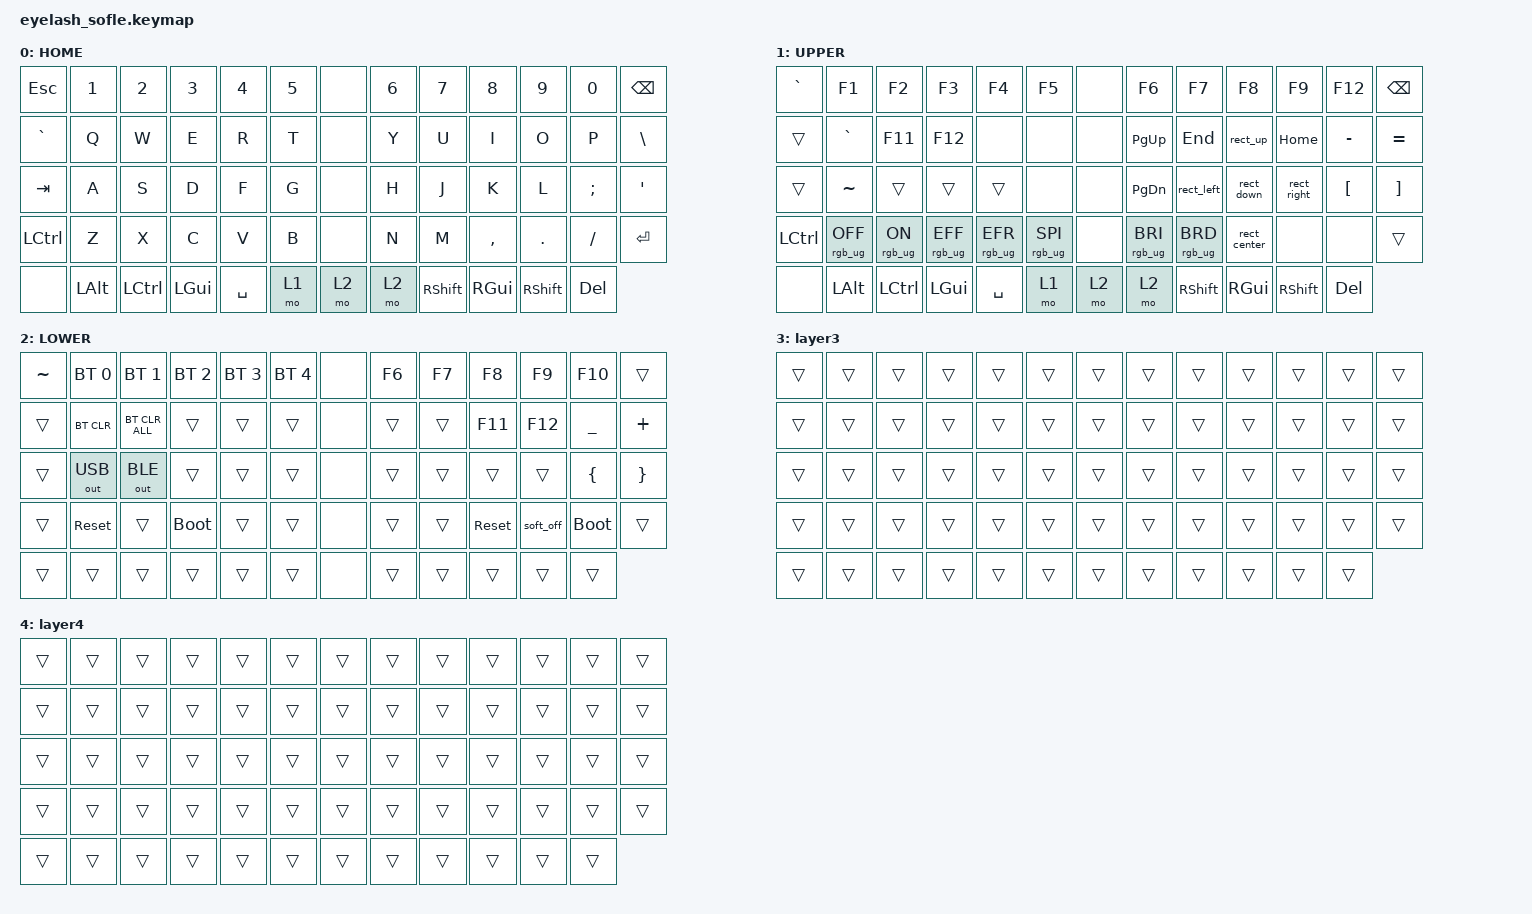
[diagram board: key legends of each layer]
#define ZMK_POINTING_DEFAULT_MOVE_VAL 1200  // 600
#define ZMK_POINTING_DEFAULT_SCRL_VAL 25   // 10

#include <input/processors.dtsi>
#include <zephyr/dt-bindings/input/input-event-codes.h>
#include <behaviors.dtsi>
#include <dt-bindings/zmk/bt.h>
#include <dt-bindings/zmk/keys.h>
#include <dt-bindings/zmk/modifiers.h>
#include <dt-bindings/zmk/outputs.h>
#include <dt-bindings/zmk/pointing.h>
#include <dt-bindings/zmk/rgb.h>


&soft_off { hold-time-ms = <2000>; };

/ {

    behaviors {
        // On UPPER, Ctrl + arrows/comma sends Rectangle's Ctrl + Option shortcuts.
        // Keeping Ctrl makes this work whichever modifier key is pressed first.
        rect_up: rectangle_up {
            compatible = "zmk,behavior-mod-morph";
            #binding-cells = <0>;
            bindings = <&kp UP>, <&kp LA(UP)>;
            mods = <MOD_LCTL>;
            keep-mods = <MOD_LCTL>;
        };

        rect_down: rectangle_down {
            compatible = "zmk,behavior-mod-morph";
            #binding-cells = <0>;
            bindings = <&kp DOWN>, <&kp LA(DOWN)>;
            mods = <MOD_LCTL>;
            keep-mods = <MOD_LCTL>;
        };

        rect_left: rectangle_left {
            compatible = "zmk,behavior-mod-morph";
            #binding-cells = <0>;
            bindings = <&kp LEFT>, <&kp LA(LEFT)>;
            mods = <MOD_LCTL>;
            keep-mods = <MOD_LCTL>;
        };

        rect_right: rectangle_right {
            compatible = "zmk,behavior-mod-morph";
            #binding-cells = <0>;
            bindings = <&kp RIGHT>, <&kp LA(RIGHT)>;
            mods = <MOD_LCTL>;
            keep-mods = <MOD_LCTL>;
        };

        rect_center: rectangle_center_half {
            compatible = "zmk,behavior-mod-morph";
            #binding-cells = <0>;
            bindings = <&kp INSERT>, <&kp LA(COMMA)>;
            mods = <MOD_LCTL>;
            keep-mods = <MOD_LCTL>;
        };
    };

    combos {
        compatible = "zmk,combos";

        softoff {
            bindings = <&soft_off>;
            key-positions = <14 28 40>;
        };
    };

    keymap {
        compatible = "zmk,keymap";

        layer0 {
            bindings = <
&kp ESC             &kp N1              &kp N2              &kp N3        &kp N4       &kp N5       &none       &kp N6          &kp N7     &kp N8           &kp N9           &kp N0      &kp BACKSPACE
&kp GRAVE           &kp Q               &kp W               &kp E         &kp R        &kp T        &none       &kp Y           &kp U      &kp I            &kp O            &kp P       &kp BSLH
&kp TAB             &kp A               &kp S               &kp D         &kp F        &kp G        &none       &kp H           &kp J      &kp K            &kp L            &kp SEMI    &kp APOS
&kp LEFT_CONTROL    &kp Z               &kp X               &kp C         &kp V        &kp B        &none       &kp N           &kp M      &kp COMMA        &kp DOT          &kp FSLH    &kp ENTER
&none               &kp LEFT_ALT        &kp LEFT_CONTROL    &kp LEFT_GUI  &kp SPACE    &mo 1        &mo 2       &mo 2           &kp RSHIFT &kp RIGHT_GUI    &kp RIGHT_SHIFT  &kp DELETE
            >;

            display-name = "HOME";
        };

        layer_1 {
            bindings = <
&kp GRAVE           &kp F1           &kp F2                 &kp F3           &kp F4           &kp F5             &none             &kp F6           &kp F7           &kp F8        &kp F9          &kp F12           &kp BACKSPACE 
&trans              &kp GRAVE        &kp F11                &kp F12          &none            &none              &none             &kp PG_UP        &kp END          &rect_up      &kp HOME        &kp MINUS         &kp EQUAL
&trans              &kp TILDE        &trans                 &trans           &trans           &none              &none             &kp PG_DN        &rect_left       &rect_down    &rect_right     &kp LEFT_BRACKET  &kp RIGHT_BRACKET
&kp LEFT_CONTROL    &rgb_ug RGB_OFF  &rgb_ug RGB_ON         &rgb_ug RGB_EFF  &rgb_ug RGB_EFR  &rgb_ug RGB_SPI    &none             &rgb_ug RGB_BRI  &rgb_ug RGB_BRD  &rect_center  &none           &none             &trans
&none               &kp LEFT_ALT     &kp LEFT_CONTROL       &kp LEFT_GUI     &kp SPACE        &mo 1              &mo 2             &mo 2            &kp RSHIFT       &kp RIGHT_GUI &kp RIGHT_SHIFT &kp DELETE
            >;

            display-name = "UPPER";
        };

        layer_2 {
            bindings = <
&kp TILDE  &bt BT_SEL 0  &bt BT_SEL 1    &bt BT_SEL 2  &bt BT_SEL 3  &bt BT_SEL 4    &none     &kp F6  &kp F7  &kp F8      &kp F9     &kp F10      &trans
&trans     &bt BT_CLR    &bt BT_CLR_ALL  &trans        &trans        &trans          &none     &trans  &trans  &kp F11     &kp F12    &kp UNDER    &kp PLUS
&trans     &out OUT_USB  &out OUT_BLE    &trans        &trans        &trans          &none     &trans  &trans  &trans      &trans     &kp LBRC     &kp RBRC
&trans     &sys_reset    &trans          &bootloader   &trans        &trans          &none     &trans  &trans  &sys_reset  &soft_off  &bootloader  &trans
&trans     &trans        &trans          &trans        &trans        &trans          &none     &trans  &trans  &trans      &trans     &trans
            >;

            display-name = "LOWER";
        };

        layer_3 {
            bindings = <
&trans  &trans  &trans  &trans  &trans  &trans    &trans  &trans  &trans  &trans  &trans  &trans  &trans
&trans  &trans  &trans  &trans  &trans  &trans    &trans  &trans  &trans  &trans  &trans  &trans  &trans
&trans  &trans  &trans  &trans  &trans  &trans    &trans  &trans  &trans  &trans  &trans  &trans  &trans
&trans  &trans  &trans  &trans  &trans  &trans    &trans  &trans  &trans  &trans  &trans  &trans  &trans
&trans  &trans  &trans  &trans  &trans  &trans    &trans  &trans  &trans  &trans  &trans  &trans
            >;

            display-name = "layer3";
        };

        layer_4 {
            bindings = <
&trans  &trans  &trans  &trans  &trans  &trans    &trans  &trans  &trans  &trans  &trans  &trans  &trans
&trans  &trans  &trans  &trans  &trans  &trans    &trans  &trans  &trans  &trans  &trans  &trans  &trans
&trans  &trans  &trans  &trans  &trans  &trans    &trans  &trans  &trans  &trans  &trans  &trans  &trans
&trans  &trans  &trans  &trans  &trans  &trans    &trans  &trans  &trans  &trans  &trans  &trans  &trans
&trans  &trans  &trans  &trans  &trans  &trans    &trans  &trans  &trans  &trans  &trans  &trans
            >;
         display-name = "layer4";
        };
    };
};
